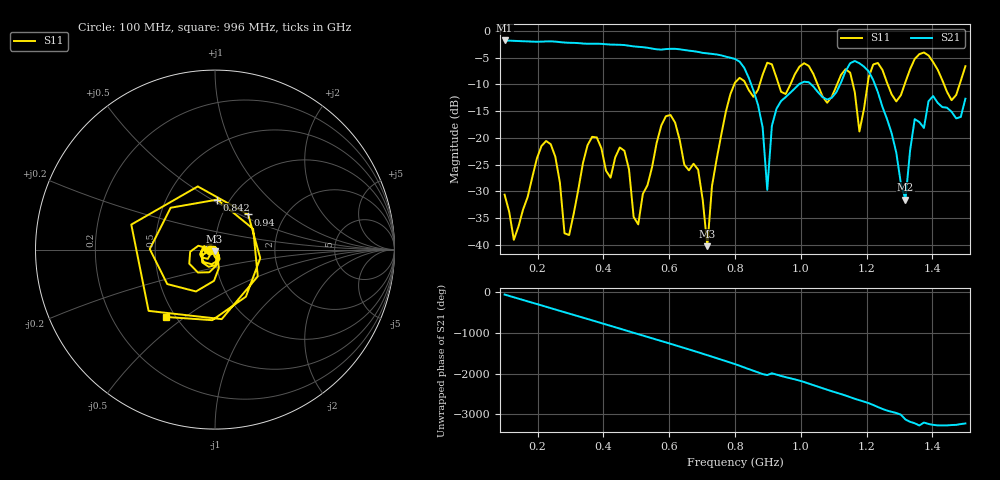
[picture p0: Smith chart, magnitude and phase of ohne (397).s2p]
! NanoVNA-App
! Date: 2025-09-25 14:23:53
! Start: 100MHz Stop: 1,5GHz Points: 101
! S-Parameter data: F S11 S21 S12 S22
# Hz S RI R 50
!  Frequency  S11_Real  S11_Imag  S21_Real  S21_Imag  S12_Real  S12_Imag  S22_Real  S22_Imag
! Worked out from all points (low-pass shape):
!   101 points, 100 MHz to 1.5 GHz, reference 50 ohm
!   highest |S21| = -1.79 dB at 100 MHz (marker M1); lowest = -31.5 dB at 1.318 GHz (marker M2)
!   |S21| within 3 dB of the highest: start of sweep to 770.5 MHz
!   lowest |S11| = -40.3 dB at 716 MHz (marker M3), VSWR 1.02, Z = 49.7 - j0.929 ohm
!   |S11| at or under -10 dB: start of sweep to 797.9 MHz; 833.1 MHz to 875.1 MHz (41.98 MHz wide, 4.91 % of centre); 1.051 GHz to 1.11 GHz (59.39 MHz wide, 5.5 % of centre) (the widest 3 of 7)
!   S12 and S22 are empty: the file has one direction only
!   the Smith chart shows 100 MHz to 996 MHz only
!   S11 on the Smith chart (normalised r, x): 100 MHz: 0.94, -0.01; 842 MHz: 0.88, +0.53; 940 MHz: 1.32, +0.56; 996 MHz: 0.45, -0.43
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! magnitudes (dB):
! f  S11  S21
! 100 MHz  -30.6  -1.8
! 128 MHz  -39.1  -1.9
! 226 MHz  -20.6  -2.0
! 296 MHz  -38.2  -2.2
! 338 MHz  -24.7  -2.4
! 464 MHz  -22.4  -2.7
! 506 MHz  -36.2  -3.0
! 576 MHz  -17.7  -3.5
! 688 MHz  -26.0  -3.9
! 716 MHz  -40.3  -4.2
! 800 MHz  -9.7  -5.3
! 842 MHz  -11.1  -8.8
! 898 MHz  -6.0  -29.7
! 940 MHz  -11.4  -13.1
! 996 MHz  -6.7  -9.9
! 1.038 GHz  -8.0  -10.4
! 1.178 GHz  -18.8  -6.1
! 1.22 GHz  -6.3  -9.2
! 1.276 GHz  -11.9  -19.2
! 1.318 GHz  -9.5  -31.5
! 1.346 GHz  -5.3  -16.5
! 1.5 GHz  -6.6  -12.7
